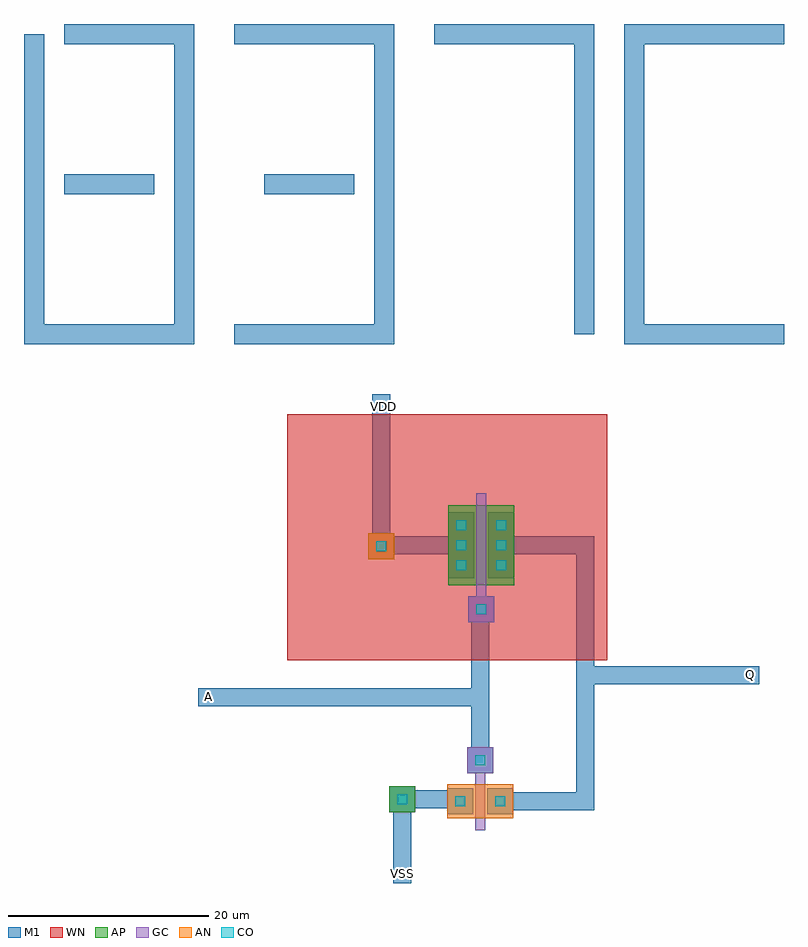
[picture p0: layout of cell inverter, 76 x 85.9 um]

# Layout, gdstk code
import gdstk
lib = gdstk.Library(unit=1e-6, precision=1e-07)
def R(c, l, rs):  # rectangles x0, y0, x1, y1
    for r in rs: c.add(gdstk.rectangle(r[:2], r[2:], *l))
def A(c, l, x, y, w, h, nx, ny, dx, dy):  # array of equal rectangles
    R(c, l, [(x+i*dx, y+j*dy, x+i*dx+w, y+j*dy+h) for i in range(nx) for j in range(ny)])
AP = (3, 1)
AN = (3, 2)
GC = (8, 1)
CO = (11, 0)
M1 = (13, 0)
WN = (140, 0)

fet_p = lib.new_cell('fet_p')
R(fet_p, AP, [(-3.3,-4,3.3,4)])
A(fet_p, CO, -2.5, -2.5, 1, 1, 1, 3, 0, 2)
A(fet_p, CO, 1.5, -2.5, 1, 1, 1, 3, 0, 2)
R(fet_p, M1, [(-3.3,-3.3,-0.7,3.3), (0.7,-3.3,3.3,3.3)])
fet_p.add(gdstk.FlexPath([(0,-5.2),(0,5.2)], 1, ends="flush", simple_path=True, layer=8, datatype=1))  # GC

cont_g = lib.new_cell('cont_g')
R(cont_g, GC, [(-1.3,-1.3,1.3,1.3)])
R(cont_g, CO, [(-0.5,-0.5,0.5,0.5)])
R(cont_g, M1, [(-1.3,-1.3,1.3,1.3)])

cont_n = lib.new_cell('cont_n')
R(cont_n, AN, [(-1.3,-1.3,1.3,1.3)])
R(cont_n, CO, [(-0.5,-0.5,0.5,0.5)])
R(cont_n, M1, [(-1.3,-1.3,1.3,1.3)])

fet_n = lib.new_cell('fet_n')
R(fet_n, AN, [(-3.3,-1.7,3.3,1.7)])
R(fet_n, CO, [(-2.5,-0.5,-1.5,0.5), (1.5,-0.5,2.5,0.5)])
R(fet_n, M1, [(-3.3,-1.3,-0.7,1.3), (0.7,-1.3,3.3,1.3)])
fet_n.add(gdstk.FlexPath([(0,-2.9),(0,2.9)], 1, ends="flush", simple_path=True, layer=8, datatype=1))  # GC

cont_p = lib.new_cell('cont_p')
R(cont_p, AP, [(-1.3,-1.3,1.3,1.3)])
R(cont_p, CO, [(-0.5,-0.5,0.5,0.5)])
R(cont_p, M1, [(-1.3,-1.3,1.3,1.3)])

inverter = lib.new_cell('inverter')
R(inverter, WN, [(5.3,7.4,37.3,32)])
inverter.add(gdstk.FlexPath([(23.4,-6.5),(16.8,-6.5),(16.8,-14.9)], 1.8, ends="flush", simple_path=True, layer=13, datatype=0))  # M1
inverter.add(gdstk.FlexPath([(25.9,18.9),(35.1,18.9),(35.1,-6.7),(26.2,-6.7)], 1.8, ends="flush", simple_path=True, layer=13, datatype=0))  # M1
inverter.add(gdstk.FlexPath([(25.2,3.7),(-3.6,3.7)], 1.8, ends="flush", simple_path=True, layer=13, datatype=0))  # M1
inverter.add(gdstk.FlexPath([(34.4,5.9),(52.5,5.9)], 1.8, ends="flush", simple_path=True, layer=13, datatype=0))  # M1
inverter.add(gdstk.FlexPath([(24.6,13.2),(24.6,-2.9)], 1.8, ends="flush", simple_path=True, layer=13, datatype=0))  # M1
inverter.add(gdstk.FlexPath([(23.4,18.9),(14.7,18.9),(14.7,34)], 1.8, ends="flush", simple_path=True, layer=13, datatype=0))  # M1
inverter.add(gdstk.FlexPath([(-17,55),(-8,55)], 2, ends="flush", simple_path=True, layer=13, datatype=0))  # M1
inverter.add(gdstk.FlexPath([(0,40),(15,40),(15,70),(0,70)], 2, ends="flush", simple_path=True, layer=13, datatype=0))  # M1
inverter.add(gdstk.FlexPath([(3,55),(12,55)], 2, ends="flush", simple_path=True, layer=13, datatype=0))  # M1
inverter.add(gdstk.FlexPath([(35,40),(35,70),(20,70)], 2, ends="flush", simple_path=True, layer=13, datatype=0))  # M1
inverter.add(gdstk.FlexPath([(55,40),(40,40),(40,70),(55,70)], 2, ends="flush", simple_path=True, layer=13, datatype=0))  # M1
inverter.add(gdstk.FlexPath([(-20,70),(-20,40),(-5,40),(-5,70),(-17,70)], 2, ends="flush", simple_path=True, layer=13, datatype=0))  # M1
inverter.add(gdstk.Reference(fet_p, (24.7,18.9)))
inverter.add(gdstk.Reference(cont_g, (24.7,12.5)))
inverter.add(gdstk.Reference(cont_n, (14.7,18.8)))
inverter.add(gdstk.Reference(fet_n, (24.6,-6.7)))
inverter.add(gdstk.Reference(cont_g, (24.6,-2.6)))
inverter.add(gdstk.Reference(cont_p, (16.8,-6.5)))
inverter.add(gdstk.Label('VSS', (16.8,-13.9), layer=48, texttype=0))
inverter.add(gdstk.Label('A', (-2.6,3.8), layer=48, texttype=0))
inverter.add(gdstk.Label('Q', (51.6,6), layer=48, texttype=0))
inverter.add(gdstk.Label('VDD', (14.9,32.8), layer=48, texttype=0))

lib.write_gds('inverter.gds')
